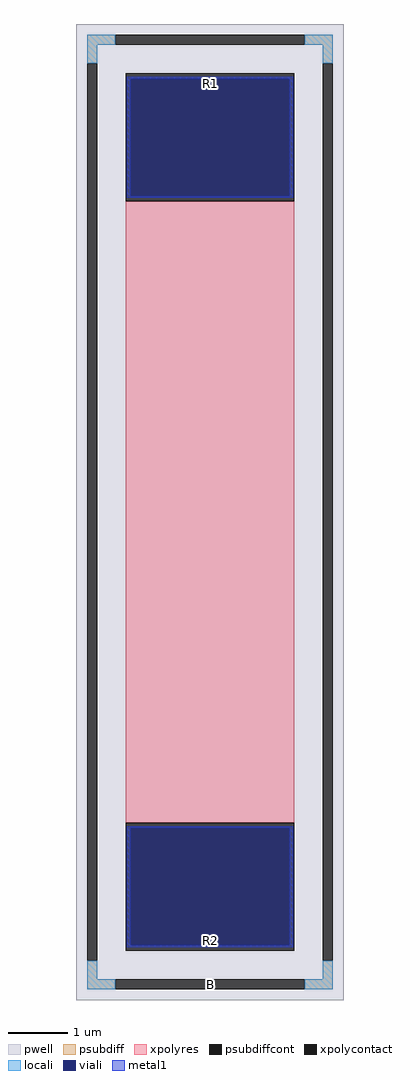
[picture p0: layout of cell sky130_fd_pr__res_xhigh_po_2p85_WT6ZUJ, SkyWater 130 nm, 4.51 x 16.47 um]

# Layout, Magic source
magic
tech sky130A
magscale 1 2
<< pwell >>
rect -451 -1647 451 1647
<< psubdiff >>
rect -415 1577 -319 1611
rect 319 1577 415 1611
rect -415 1515 -381 1577
rect 381 1515 415 1577
rect -415 -1577 -381 -1515
rect 381 -1577 415 -1515
rect -415 -1611 -319 -1577
rect 319 -1611 415 -1577
<< psubdiffcont >>
rect -319 1577 319 1611
rect -415 -1515 -381 1515
rect 381 -1515 415 1515
rect -319 -1611 319 -1577
<< xpolycontact >>
rect -285 1049 285 1481
rect -285 -1481 285 -1049
<< xpolyres >>
rect -285 -1049 285 1049
<< locali >>
rect -415 1577 -319 1611
rect 319 1577 415 1611
rect -415 1515 -381 1577
rect 381 1515 415 1577
rect -415 -1577 -381 -1515
rect 381 -1577 415 -1515
rect -415 -1611 -319 -1577
rect 319 -1611 415 -1577
<< viali >>
rect -269 1066 269 1463
rect -269 -1463 269 -1066
<< metal1 >>
rect -281 1463 281 1469
rect -281 1066 -269 1463
rect 269 1066 281 1463
rect -281 1060 281 1066
rect -281 -1066 281 -1060
rect -281 -1463 -269 -1066
rect 269 -1463 281 -1066
rect -281 -1469 281 -1463
<< labels >>
rlabel psubdiffcont 0 -1594 0 -1594 0 B
port 103 nsew
rlabel xpolycontact 0 1446 0 1446 0 R1
port 104 nsew
rlabel xpolycontact 0 -1446 0 -1446 0 R2
port 105 nsew
<< properties >>
string FIXED_BBOX -398 -1594 398 1594
string gencell sky130_fd_pr__res_xhigh_po_2p85
string library sky130
string parameters w 2.850 l 10.65 m 1 nx 1 wmin 2.850 lmin 0.50 class resistor rho 2000 val 7.605k dummy 0 dw 0.0 term 188.2 sterm 0.0 caplen 0 wmax 2.850 guard 1 glc 1 grc 1 gtc 1 gbc 1 compatible {sky130_fd_pr__res_xhigh_po_0p35  sky130_fd_pr__res_xhigh_po_0p69 sky130_fd_pr__res_xhigh_po_1p41  sky130_fd_pr__res_xhigh_po_2p85 sky130_fd_pr__res_xhigh_po_5p73} snake 0 full_metal 1 n_guard 0 hv_guard 0 vias 1 viagb 0 viagt 0 viagl 0 viagr 0 doports 1 mult 1
<< end >>
